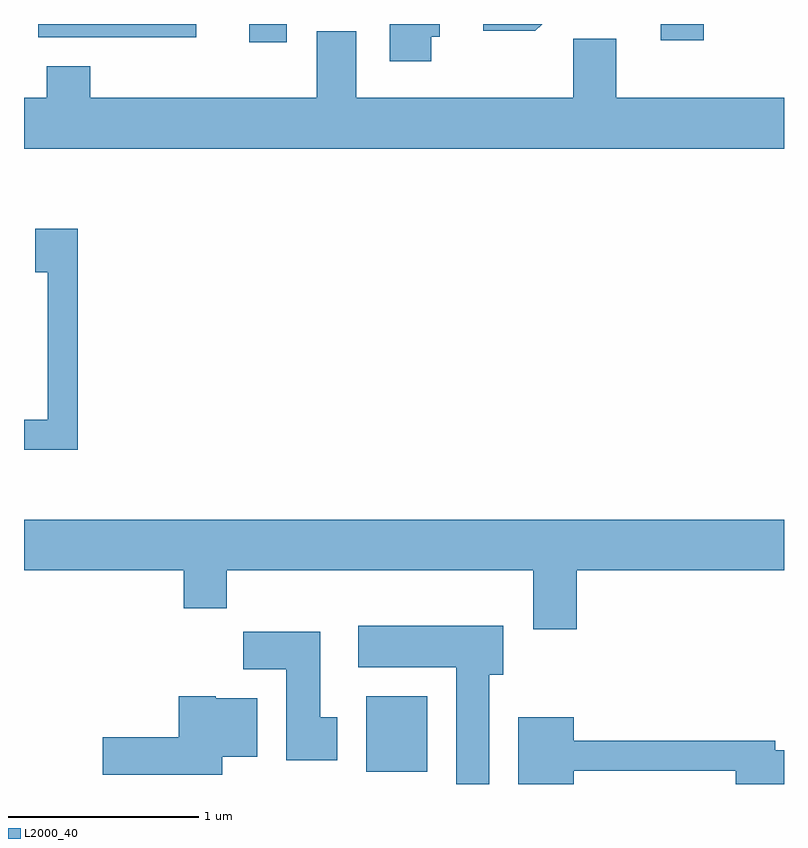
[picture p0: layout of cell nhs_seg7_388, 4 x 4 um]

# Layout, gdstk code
import gdstk
lib = gdstk.Library(unit=1e-6, precision=1e-09)
def R(c, l, rs):  # rectangles x0, y0, x1, y1
    for r in rs: c.add(gdstk.rectangle(r[:2], r[2:], *l))
def P(c, l, *ps):  # polygons
    for p in ps: c.add(gdstk.Polygon(p, *l))
L2000_40 = (2000, 40)

nhs_seg7_388 = lib.new_cell('nhs_seg7_388')
R(nhs_seg7_388, L2000_40, [(197.411,1764.316,197.734,1764.714), (196.796,1768.156,196.994,1768.252), (198.961,1768.166,199.189,1768.252), (195.686,1768.181,196.518,1768.252)])
P(nhs_seg7_388, L2000_40, [(198.338,1768.252),(198.028,1768.252),(198.028,1768.216),(198.302,1768.216)],
  [(197.754,1768.186),(197.799,1768.186),(197.799,1768.252),(197.536,1768.252),(197.536,1768.056),(197.754,1768.056)],
  [(199.611,1767.864),(198.729,1767.864),(198.729,1768.174),(198.501,1768.174),(198.501,1767.864),(197.359,1767.864),(197.359,1768.214),(197.151,1768.214),(197.151,1767.864),(195.959,1767.864),(195.959,1768.029),(195.731,1768.029),(195.731,1767.864),(195.611,1767.864),(195.611,1767.596),(199.611,1767.596)],
  [(195.894,1767.174),(195.671,1767.174),(195.671,1766.946),(195.736,1766.946),(195.736,1766.169),(195.611,1766.169),(195.611,1766.011),(195.894,1766.011)],
  [(198.519,1765.376),(199.611,1765.376),(199.611,1765.644),(195.611,1765.644),(195.611,1765.376),(196.451,1765.376),(196.451,1765.176),(196.679,1765.176),(196.679,1765.376),(198.291,1765.376),(198.291,1765.066),(198.519,1765.066)],
  [(198.059,1764.826),(198.134,1764.826),(198.134,1765.084),(197.371,1765.084),(197.371,1764.866),(197.886,1764.866),(197.886,1764.252),(198.059,1764.252)],
  [(197.259,1764.604),(197.169,1764.604),(197.169,1765.054),(196.766,1765.054),(196.766,1764.856),(196.991,1764.856),(196.991,1764.376),(197.259,1764.376)],
  [(196.654,1764.396),(196.839,1764.396),(196.839,1764.704),(196.62,1764.704),(196.62,1764.714),(196.426,1764.714),(196.426,1764.499),(196.026,1764.499),(196.026,1764.301),(196.654,1764.301)],
  [(198.504,1764.321),(199.356,1764.321),(199.356,1764.252),(199.611,1764.252),(199.611,1764.429),(199.564,1764.429),(199.564,1764.479),(198.504,1764.479),(198.504,1764.604),(198.211,1764.604),(198.211,1764.252),(198.504,1764.252)])

lib.write_gds('nhs_seg7_388.gds')
